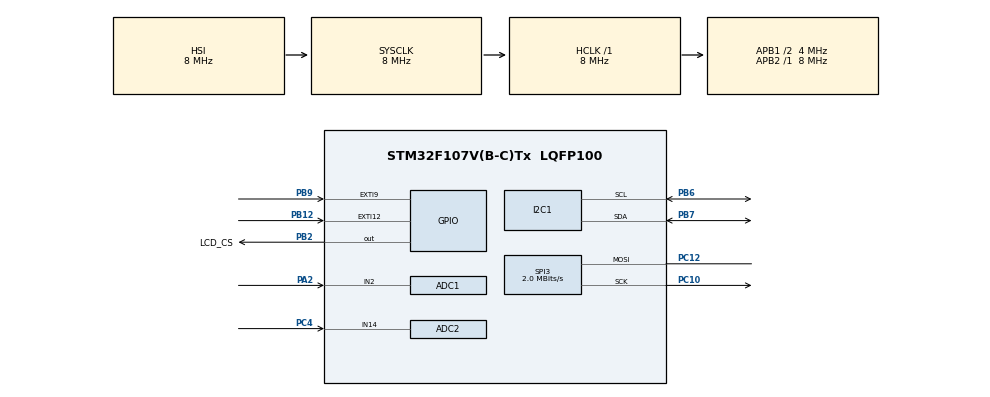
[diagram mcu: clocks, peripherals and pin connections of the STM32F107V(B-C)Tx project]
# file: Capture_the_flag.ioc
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ADC1.Channel-1\#ChannelRegularConversion=ADC_CHANNEL_2
ADC1.NbrOfConversionFlag=1
ADC1.Rank-1\#ChannelRegularConversion=1
ADC1.SamplingTime-1\#ChannelRegularConversion=ADC_SAMPLETIME_1CYCLE_5
ADC1.master=1
ADC2.Channel-1\#ChannelRegularConversion=ADC_CHANNEL_14
ADC2.NbrOfConversionFlag=1
ADC2.Rank-1\#ChannelRegularConversion=1
ADC2.SamplingTime-1\#ChannelRegularConversion=ADC_SAMPLETIME_1CYCLE_5
Mcu.Family=STM32F1
Mcu.Name=STM32F107V(B-C)Tx
Mcu.Package=LQFP100
NVIC.EXTI15_10_IRQn=true\:0\:0\:false\:false\:true\:true\:true\:true
NVIC.EXTI9_5_IRQn=true\:0\:0\:false\:false\:true\:true\:true\:true
NVIC.PriorityGroup=NVIC_PRIORITYGROUP_4
NVIC.TIM6_IRQn=true\:0\:0\:true\:false\:true\:true\:true\:true
NVIC.TIM7_IRQn=true\:0\:0\:true\:false\:true\:true\:true\:true
OSC_IN.Mode=HSE-External-Oscillator
OSC_IN.Signal=RCC_OSC_IN
OSC_OUT.Mode=HSE-External-Oscillator
OSC_OUT.Signal=RCC_OSC_OUT
PA13.Mode=JTAG_4_pins
PA13.Signal=SYS_JTMS-SWDIO
PA14.Mode=JTAG_4_pins
PA14.Signal=SYS_JTCK-SWCLK
PA15.Mode=JTAG_4_pins
PA15.Signal=SYS_JTDI
PA2.Signal=ADCx_IN2
PB12.Signal=GPXTI12
PB2.GPIO_Label=LCD_CS
PB2.Signal=GPIO_Output
PB3.Mode=JTAG_4_pins
PB3.Signal=SYS_JTDO
PB6.Mode=I2C
PB6.Signal=I2C1_SCL
PB7.Mode=I2C
PB7.Signal=I2C1_SDA
PB9.Signal=GPXTI9
PC10.Mode=Simplex_Bidirectional_Master
PC10.Signal=SPI3_SCK
PC12.Mode=Simplex_Bidirectional_Master
PC12.Signal=SPI3_MOSI
PC4.Signal=ADCx_IN14
ProjectManager.HeapSize=0x200
ProjectManager.StackSize=0x400
ProjectManager.TargetToolchain=STM32CubeIDE
RCC.ADCPresc=RCC_ADCPCLK2_DIV6
RCC.AHBFreq_Value=8000000
RCC.APB1CLKDivider=RCC_HCLK_DIV2
RCC.APB1Freq_Value=4000000
RCC.APB1TimFreq_Value=8000000
RCC.APB2Freq_Value=8000000
RCC.APB2TimFreq_Value=8000000
RCC.HCLKFreq_Value=8000000
RCC.PLLMUL=RCC_PLL_MUL9
RCC.PLLSourceVirtual=RCC_PLLSOURCE_HSE
RCC.SYSCLKFreq_VALUE=8000000
RCC.USBFreq_Value=48000000
SH.ADCx_IN14.0=ADC2_IN14,IN14
SH.ADCx_IN2.0=ADC1_IN2,IN2
SPI3.BaudRatePrescaler=SPI_BAUDRATEPRESCALER_2
SPI3.CLKPhase=SPI_PHASE_1EDGE
SPI3.CLKPolarity=SPI_POLARITY_LOW
SPI3.CalculateBaudRate=2.0 MBits/s
SPI3.DataSize=SPI_DATASIZE_16BIT
SPI3.Direction=SPI_DIRECTION_1LINE
SPI3.Mode=SPI_MODE_MASTER
SPI3.VirtualType=VM_MASTER
TIM6.Period=10-1
TIM6.Prescaler=8000-1
TIM7.Period=100-1
TIM7.Prescaler=8000-1
VP_TIM6_VS_ClockSourceINT.Mode=Enable_Timer
VP_TIM7_VS_ClockSourceINT.Mode=Enable_Timer
board=custom

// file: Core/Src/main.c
/* USER CODE BEGIN Header */
/**
  ******************************************************************************
  * @file           : main.c
  * @brief          : Main program body
  ******************************************************************************
  * @attention
  *
  * Copyright (c) 2023 STMicroelectronics.
  * All rights reserved.
  *
  * This software is licensed under terms that can be found in the LICENSE file
  * in the root directory of this software component.
  * If no LICENSE file comes with this software, it is provided AS-IS.
  *
  ******************************************************************************
  */
/* USER CODE END Header */
#include "main.h"

ADC_HandleTypeDef hadc1;
ADC_HandleTypeDef hadc2;

I2C_HandleTypeDef hi2c1;

SPI_HandleTypeDef hspi3;

TIM_HandleTypeDef htim6;
TIM_HandleTypeDef htim7;

void SystemClock_Config(void);
static void MX_GPIO_Init(void);
static void MX_I2C1_Init(void);
static void MX_SPI3_Init(void);
static void MX_TIM7_Init(void);
static void MX_ADC1_Init(void);
static void MX_TIM6_Init(void);
static void MX_ADC2_Init(void);

/* USER CODE BEGIN 0 */
void MovePlayer (void);
void GetADCValue (void);
void GetADC2Value (void);
void DrawPlayer (int x, int y, uint16_t color);
void DrawFlag(int x, int y, uint16_t color1, uint16_t color2);
void Displayplayer1Score (void);
void StartScreenSetup (void);
void StartAnimation(void);
void EndScreen(void);
bool CheckIfFlagTouched(int x, int y);
bool CheckIfGameEnd (void);

#define HEIGHT 240
#define WIDTH 320
#define MAX_SCORE 4

int flag_x[8];
int flag_y[8];

int currentFlagX;
int currentFlagY;

extern int player1X;
extern int player1Y;
extern int player2X;
extern int player2Y;
extern int player1Direction;
extern int player2Direction;
extern int player1State;
extern int player2State;
extern int x_start;
extern int y_start;
extern int x_start2;
extern int y_start2;

extern  bool isFlagReady;
extern bool isGameStart;

bool checkFlag = true;
bool isScreenWrited = false;

int temp1 = 0;
int temp2 = 0;
int player1Speed;
int player2Speed = 10;
uint8_t player1Score = 0;
int player2Score = 0;
int flagCounter = 1;

float raw1;
float raw2;

/* USER CODE END 0 */

int main(void)
{

  /* MCU Configuration--------------------------------------------------------*/

  /* Reset of all peripherals, Initializes the Flash interface and the Systick. */
  HAL_Init();

  /* Configure the system clock */
  SystemClock_Config();

  /* Initialize all configured peripherals */
  MX_GPIO_Init();
  MX_I2C1_Init();
  MX_SPI3_Init();
  MX_TIM7_Init();
  MX_ADC1_Init();
  MX_TIM6_Init();
  MX_ADC2_Init();
  /* USER CODE BEGIN 2 */

  StartScreenSetup();

  flag_x[0] = 250;
  flag_y[0] = 200;

  flag_x[1] = 130;
  flag_y[1] = 120;

  flag_x[2] = 20;
  flag_y[2] = 35;

  flag_x[3] = 200;
  flag_y[3] = 55;

  flag_x[4] = 63;
  flag_y[4] = 193;

  HAL_TIM_Base_Start_IT(&htim7);
  HAL_TIM_Base_Start_IT(&htim6);
  HAL_TIM_Base_Start_IT(&htim4);

  /*for (int var = 0; var < 8; ++var) {
	DrawFlag(flag_x[var], flag_y[var], LCD_COLOR_RED, LCD_COLOR_WHITE);
}*/

  /* USER CODE END 2 */

  /* Infinite loop */
  while (1)
  {

    /* USER CODE BEGIN 3 */
	  if (!isGameStart){
		  StartAnimation();
	  }
	  else if (isGameStart){
		  MovePlayer();
	  }

	  if (CheckIfGameEnd()){
		  EndScreen();
	  }

	}

  /* USER CODE END 3 */
}

void SystemClock_Config(void)
{
  RCC_OscInitTypeDef RCC_OscInitStruct = {0};
  RCC_ClkInitTypeDef RCC_ClkInitStruct = {0};
  RCC_PeriphCLKInitTypeDef PeriphClkInit = {0};

  /** Initializes the RCC Oscillators according to the specified parameters
  * in the RCC_OscInitTypeDef structure.
  */
  RCC_OscInitStruct.OscillatorType = RCC_OSCILLATORTYPE_HSI;
  RCC_OscInitStruct.HSIState = RCC_HSI_ON;
  RCC_OscInitStruct.HSICalibrationValue = RCC_HSICALIBRATION_DEFAULT;
  RCC_OscInitStruct.PLL.PLLState = RCC_PLL_NONE;
  RCC_OscInitStruct.PLL2.PLL2State = RCC_PLL_NONE;
  if (HAL_RCC_OscConfig(&RCC_OscInitStruct) != HAL_OK)
  {
    Error_Handler();
  }

  /** Initializes the CPU, AHB and APB buses clocks
  */
  RCC_ClkInitStruct.ClockType = RCC_CLOCKTYPE_HCLK|RCC_CLOCKTYPE_SYSCLK
                              |RCC_CLOCKTYPE_PCLK1|RCC_CLOCKTYPE_PCLK2;
  RCC_ClkInitStruct.SYSCLKSource = RCC_SYSCLKSOURCE_HSI;
  RCC_ClkInitStruct.AHBCLKDivider = RCC_SYSCLK_DIV1;
  RCC_ClkInitStruct.APB1CLKDivider = RCC_HCLK_DIV2;
  RCC_ClkInitStruct.APB2CLKDivider = RCC_HCLK_DIV1;

  if (HAL_RCC_ClockConfig(&RCC_ClkInitStruct, FLASH_LATENCY_0) != HAL_OK)
  {
    Error_Handler();
  }
  PeriphClkInit.PeriphClockSelection = RCC_PERIPHCLK_ADC;
  PeriphClkInit.AdcClockSelection = RCC_ADCPCLK2_DIV6;
  if (HAL_RCCEx_PeriphCLKConfig(&PeriphClkInit) != HAL_OK)
  {
    Error_Handler();
  }

  /** Configure the Systick interrupt time
  */
  __HAL_RCC_PLLI2S_ENABLE();
}

static void MX_ADC1_Init(void)
{

  ADC_ChannelConfTypeDef sConfig = {0};

  /** Common config
  */
  hadc1.Instance = ADC1;
  hadc1.Init.ScanConvMode = ADC_SCAN_DISABLE;
  hadc1.Init.ContinuousConvMode = DISABLE;
  hadc1.Init.DiscontinuousConvMode = DISABLE;
  hadc1.Init.ExternalTrigConv = ADC_SOFTWARE_START;
  hadc1.Init.DataAlign = ADC_DATAALIGN_RIGHT;
  hadc1.Init.NbrOfConversion = 1;
  if (HAL_ADC_Init(&hadc1) != HAL_OK)
  {
    Error_Handler();
  }

  /** Configure Regular Channel
  */
  sConfig.Channel = ADC_CHANNEL_2;
  sConfig.Rank = ADC_REGULAR_RANK_1;
  sConfig.SamplingTime = ADC_SAMPLETIME_1CYCLE_5;
  if (HAL_ADC_ConfigChannel(&hadc1, &sConfig) != HAL_OK)
  {
    Error_Handler();
  }

}

static void MX_ADC2_Init(void)
{

  ADC_ChannelConfTypeDef sConfig = {0};

  /** Common config
  */
  hadc2.Instance = ADC2;
  hadc2.Init.ScanConvMode = ADC_SCAN_DISABLE;
  hadc2.Init.ContinuousConvMode = DISABLE;
  hadc2.Init.DiscontinuousConvMode = DISABLE;
  hadc2.Init.ExternalTrigConv = ADC_SOFTWARE_START;
  hadc2.Init.DataAlign = ADC_DATAALIGN_RIGHT;
  hadc2.Init.NbrOfConversion = 1;
  if (HAL_ADC_Init(&hadc2) != HAL_OK)
  {
    Error_Handler();
  }

  /** Configure Regular Channel
  */
  sConfig.Channel = ADC_CHANNEL_14;
  sConfig.Rank = ADC_REGULAR_RANK_1;
  sConfig.SamplingTime = ADC_SAMPLETIME_1CYCLE_5;
  if (HAL_ADC_ConfigChannel(&hadc2, &sConfig) != HAL_OK)
  {
    Error_Handler();
  }

}

static void MX_I2C1_Init(void)
{

  hi2c1.Instance = I2C1;
  hi2c1.Init.ClockSpeed = 100000;
  hi2c1.Init.DutyCycle = I2C_DUTYCYCLE_2;
  hi2c1.Init.OwnAddress1 = 0;
  hi2c1.Init.AddressingMode = I2C_ADDRESSINGMODE_7BIT;
  hi2c1.Init.DualAddressMode = I2C_DUALADDRESS_DISABLE;
  hi2c1.Init.OwnAddress2 = 0;
  hi2c1.Init.GeneralCallMode = I2C_GENERALCALL_DISABLE;
  hi2c1.Init.NoStretchMode = I2C_NOSTRETCH_DISABLE;
  if (HAL_I2C_Init(&hi2c1) != HAL_OK)
  {
    Error_Handler();
  }

}

static void MX_SPI3_Init(void)
{

  /* SPI3 parameter configuration*/
  hspi3.Instance = SPI3;
  hspi3.Init.Mode = SPI_MODE_MASTER;
  hspi3.Init.Direction = SPI_DIRECTION_1LINE;
  hspi3.Init.DataSize = SPI_DATASIZE_16BIT;
  hspi3.Init.CLKPolarity = SPI_POLARITY_LOW;
  hspi3.Init.CLKPhase = SPI_PHASE_1EDGE;
  hspi3.Init.NSS = SPI_NSS_SOFT;
  hspi3.Init.BaudRatePrescaler = SPI_BAUDRATEPRESCALER_2;
  hspi3.Init.FirstBit = SPI_FIRSTBIT_MSB;
  hspi3.Init.TIMode = SPI_TIMODE_DISABLE;
  hspi3.Init.CRCCalculation = SPI_CRCCALCULATION_DISABLE;
  hspi3.Init.CRCPolynomial = 10;
  if (HAL_SPI_Init(&hspi3) != HAL_OK)
  {
    Error_Handler();
  }

}

static void MX_TIM6_Init(void)
{

  TIM_MasterConfigTypeDef sMasterConfig = {0};

  htim6.Instance = TIM6;
  htim6.Init.Prescaler = 8000-1;
  htim6.Init.CounterMode = TIM_COUNTERMODE_UP;
  htim6.Init.Period = 10-1;
  htim6.Init.AutoReloadPreload = TIM_AUTORELOAD_PRELOAD_DISABLE;
  if (HAL_TIM_Base_Init(&htim6) != HAL_OK)
  {
    Error_Handler();
  }
  sMasterConfig.MasterOutputTrigger = TIM_TRGO_RESET;
  sMasterConfig.MasterSlaveMode = TIM_MASTERSLAVEMODE_DISABLE;
  if (HAL_TIMEx_MasterConfigSynchronization(&htim6, &sMasterConfig) != HAL_OK)
  {
    Error_Handler();
  }

}

static void MX_TIM7_Init(void)
{

  TIM_MasterConfigTypeDef sMasterConfig = {0};

  htim7.Instance = TIM7;
  htim7.Init.Prescaler = 8000-1;
  htim7.Init.CounterMode = TIM_COUNTERMODE_UP;
  htim7.Init.Period = 100-1;
  htim7.Init.AutoReloadPreload = TIM_AUTORELOAD_PRELOAD_DISABLE;
  if (HAL_TIM_Base_Init(&htim7) != HAL_OK)
  {
    Error_Handler();
  }
  sMasterConfig.MasterOutputTrigger = TIM_TRGO_RESET;
  sMasterConfig.MasterSlaveMode = TIM_MASTERSLAVEMODE_DISABLE;
  if (HAL_TIMEx_MasterConfigSynchronization(&htim7, &sMasterConfig) != HAL_OK)
  {
    Error_Handler();
  }

}

static void MX_GPIO_Init(void)
{
  GPIO_InitTypeDef GPIO_InitStruct = {0};

  /* GPIO Ports Clock Enable */
  __HAL_RCC_GPIOA_CLK_ENABLE();
  __HAL_RCC_GPIOC_CLK_ENABLE();
  __HAL_RCC_GPIOB_CLK_ENABLE();

  /*Configure GPIO pin Output Level */
  HAL_GPIO_WritePin(LCD_CS_GPIO_Port, LCD_CS_Pin, GPIO_PIN_RESET);

  /*Configure GPIO pin : LCD_CS_Pin */
  GPIO_InitStruct.Pin = LCD_CS_Pin;
  GPIO_InitStruct.Mode = GPIO_MODE_OUTPUT_PP;
  GPIO_InitStruct.Pull = GPIO_NOPULL;
  GPIO_InitStruct.Speed = GPIO_SPEED_FREQ_LOW;
  HAL_GPIO_Init(LCD_CS_GPIO_Port, &GPIO_InitStruct);

  /*Configure GPIO pins : PB12 PB9 */
  GPIO_InitStruct.Pin = GPIO_PIN_12|GPIO_PIN_9;
  GPIO_InitStruct.Mode = GPIO_MODE_IT_RISING;
  GPIO_InitStruct.Pull = GPIO_NOPULL;
  HAL_GPIO_Init(GPIOB, &GPIO_InitStruct);

  /* EXTI interrupt init*/
  HAL_NVIC_SetPriority(EXTI9_5_IRQn, 0, 0);
  HAL_NVIC_EnableIRQ(EXTI9_5_IRQn);

  HAL_NVIC_SetPriority(EXTI15_10_IRQn, 0, 0);
  HAL_NVIC_EnableIRQ(EXTI15_10_IRQn);

}

/* USER CODE BEGIN 4 */

void MovePlayer (void){

	GetADC2Value();
	GetADCValue();
	DrawPlayer(player1X, player1Y, LCD_COLOR_ORANGE);
	DrawPlayer(player2X, player2Y, LCD_COLOR_BLUE);

	if (checkFlag){
		switch (flagCounter){
		case 1:
			DrawFlag(flag_x[0], flag_y[0], LCD_COLOR_WHITE, LCD_COLOR_RED);
			currentFlagX = flag_x[0];
			currentFlagY = flag_y[0];
			break;
		case 2:
			DrawFlag(flag_x[1], flag_y[1], LCD_COLOR_WHITE, LCD_COLOR_RED);
			currentFlagX = flag_x[1];
			currentFlagY = flag_y[1];
			break;
		case 3:
			DrawFlag(flag_x[2], flag_y[2], LCD_COLOR_WHITE, LCD_COLOR_RED);
			currentFlagX = flag_x[2];
			currentFlagY = flag_y[2];
			break;
		case 4:
			DrawFlag(flag_x[3], flag_y[3], LCD_COLOR_WHITE, LCD_COLOR_RED);
			currentFlagX = flag_x[3];
			currentFlagY = flag_y[3];
			break;

		}
	}

	if (CheckIfFlagTouched(currentFlagX, currentFlagY) == true){
			Displayplayer1Score();
	}
}

void DrawPlayer(int x, int y, uint16_t color){
	//Draw Square

	BSP_LCD_SetTextColor(LCD_COLOR_BLACK);
	BSP_LCD_FillRect(x-7   , y-4, 21, 17);
	BSP_LCD_SetTextColor(color);
	BSP_LCD_DrawRect(x, y, 5, 3);
	BSP_LCD_DrawRect(x-5, y+3, 15, 5);
	BSP_LCD_DrawRect(x-3, y+8, 3, 2);
	BSP_LCD_DrawRect(x+5, y+8, 3, 2);

}

void DrawFlag(int x, int y, uint16_t color1, uint16_t color2){
	BSP_LCD_SetTextColor(color1);
	BSP_LCD_DrawLine(x, y, x+3, y);
	BSP_LCD_DrawLine(x, y-1, x+3, y-1);
	BSP_LCD_DrawLine(x+1, y-2, x+1, y-9);
	BSP_LCD_DrawLine(x+2, y-2, x+2, y-9);

	BSP_LCD_SetTextColor(color2);
	BSP_LCD_DrawLine(x+3, y-4, x+3, y-10);
	BSP_LCD_DrawLine(x+4, y-4, x+4, y-10);
	BSP_LCD_DrawLine(x+5, y-5, x+5, y-9);
	BSP_LCD_DrawLine(x+6, y-6, x+6, y-8);
	DrawPixel(x+7, y-7, color2);

	checkFlag = false;
}

void GetADCValue (void){
	HAL_ADC_Start(&hadc1);
	HAL_ADC_PollForConversion(&hadc1, HAL_MAX_DELAY);
	raw1 = HAL_ADC_GetValue(&hadc1);

	if (raw1 > 0 && raw1 <= 500){
		player1Speed = 5;
		player1Direction = 0;
	}
	else if (raw1 > 500 && raw1 <= 1000){
		player1Speed = 7;
		player1Direction = 0;
	}
	else if (raw1 > 1000 && raw1 <= 1500){
		player1Speed = 9;
		player1Direction = 0;
	}
	else if (raw1 > 1500 && raw1 <= 2000){
		player1Speed = 10;
		player1Direction = 0;
	}
	else if (raw1 <= 3000 && raw1 > 2500){
		player1Speed = 9;
		player1Direction = 1;
	}
	else if (raw1 <= 3500 && raw1 > 3000){
			player1Speed = 7;
			player1Direction = 1;
	}
	else if (raw1 <= 4038 && raw1 > 3500){
				player1Speed = 5;
				player1Direction = 1;
	}
	else{
		player1Direction = 2;
	}
}

void GetADC2Value (void){
	HAL_ADC_Start(&hadc2);
	HAL_ADC_PollForConversion(&hadc2, HAL_MAX_DELAY);
	raw2 = HAL_ADC_GetValue(&hadc2);

	if (raw2 - temp2 <= 100 && temp2-raw2 <= 100)
		return;
	temp2 = raw2;

	if (raw2 > 0 && raw2 <= 2000){
		player2Speed = 10;
		player2Direction = 0;
	}
	else if (raw2 <= 4038 && raw2 > 2500){
		player2Speed = 10;
		player2Direction = 1;
	}
	else{
		player2Direction = 2;
	}
}

bool CheckIfFlagTouched(int x, int y){
	if (player1X >= x && player1X <= x + 6 && player1Y <= y && player1Y >= y - 10){
		DrawFlag(x, y, LCD_COLOR_BLACK, LCD_COLOR_BLACK);
		player1Score++;
		checkFlag = true;
		flagCounter++;
		return true;

	}
	if (player1X + 10 >= x && player1X + 10 <= x + 6 && player1Y +3 <= y && player1Y + 3 >= y - 10){
		DrawFlag(x, y, LCD_COLOR_BLACK, LCD_COLOR_BLACK);
		player1Score++;
		checkFlag = true;
		flagCounter++;
		return true;

	}
	if (player2X >= x && player2X <= x + 6 && player2Y <= y && player2Y >= y - 10){
		DrawFlag(x, y, LCD_COLOR_BLACK, LCD_COLOR_BLACK);
		player2Score++;
		checkFlag = true;
		flagCounter++;
		return true;
	}
	if (player2X + 10 >= x && player2X + 10 <= x + 6 && player2Y + 3 <= y && player2Y + 3 >= y - 10){
			DrawFlag(x, y, LCD_COLOR_BLACK, LCD_COLOR_BLACK);
			player2Score++;
			checkFlag = true;
			flagCounter++;
			return true;
		}
	return false;
}

void Displayplayer1Score (void){
	BSP_LCD_SetFont(&Font12);
	BSP_LCD_SetBackColor(LCD_COLOR_BLACK);
	BSP_LCD_SetTextColor(LCD_COLOR_WHITE);

	switch(player1Score){
	case 1:
		BSP_LCD_DisplayStringAt(0, 230, (uint8_t*) "Player1: 1", LEFT_MODE);
		break;
	case 2:
		BSP_LCD_DisplayStringAt(0, 230, (uint8_t*) "Player1: 2", LEFT_MODE);
		break;
	case 3:
		BSP_LCD_DisplayStringAt(0, 230, (uint8_t*) "Player1: 3", LEFT_MODE);
		break;
	case 4:
		BSP_LCD_DisplayStringAt(0, 230, (uint8_t*) "Player1: 4", LEFT_MODE);
		break;

	}

	switch(player2Score){
	case 1:
		BSP_LCD_DisplayStringAt(0, 230, (uint8_t*) "Player2: 1", RIGHT_MODE);
		break;
	case 2:
		BSP_LCD_DisplayStringAt(0, 230, (uint8_t*) "Player2: 2", RIGHT_MODE);
		break;
	case 3:
		BSP_LCD_DisplayStringAt(0, 230, (uint8_t*) "Player2: 3", RIGHT_MODE);
		break;
	case 4:
		BSP_LCD_DisplayStringAt(0, 230, (uint8_t*) "Player2: 4", RIGHT_MODE);
		break;

	}

}

void StartScreenSetup(){
	BSP_LCD_Init();
	BSP_LCD_Clear(LCD_COLOR_BLACK);
	BSP_LCD_SetBackColor(LCD_COLOR_BLACK);
	BSP_LCD_SetTextColor(LCD_COLOR_ORANGE);
	BSP_LCD_SetFont(&Font12);
	BSP_LCD_DisplayStringAt(0, 50, (uint8_t *) "BASLAMAK ICIN 'KEY' TUSUNA BASINIZ.", CENTER_MODE);
}

void StartAnimation(void){
	//CAR1
	BSP_LCD_SetTextColor(LCD_COLOR_RED);
	BSP_LCD_DrawRect(x_start, y_start, 14, 8);
	BSP_LCD_DrawRect(x_start-15, y_start+8, 45, 13);
	BSP_LCD_DrawCircle(x_start-2, y_start+21, 5);
	BSP_LCD_DrawCircle(x_start+17, y_start+21, 5);
	BSP_LCD_DrawRect(0, 142, 320, 5);
	BSP_LCD_FillRect(x_start+1, y_start+1, 13, 6);

	BSP_LCD_SetTextColor(LCD_COLOR_BLACK);
	BSP_LCD_FillRect(x_start+1, y_start+1, 13, 6);
	BSP_LCD_FillRect(x_start-14, y_start+9, 43, 11);
	BSP_LCD_FillCircle(x_start-2, y_start+21, 4);
	BSP_LCD_FillCircle(x_start+17, y_start+21, 4);
	BSP_LCD_DrawLine(x_start-15, y_start+8, x_start-15, y_start+21);
	BSP_LCD_DrawLine(x_start, y_start, x_start, y_start+8);
	x_start++;
}

bool CheckIfGameEnd (void){
	if (flagCounter == MAX_SCORE + 1){return true;}
	return false;
}

void EndScreen(void){
	if (!isScreenWrited){
		BSP_LCD_Clear(LCD_COLOR_BLACK);
		BSP_LCD_SetTextColor(LCD_COLOR_ORANGE);
		BSP_LCD_SetFont(&Font12);

		if (player1Score > player2Score){
			BSP_LCD_DisplayStringAt(100, 200, (uint8_t *) "OYUNCU 1  KAZANDI...", LEFT_MODE);
		}
		else if (player2Score > player1Score){
			BSP_LCD_DisplayStringAt(100, 200, (uint8_t *) "OYUNCU 2  KAZANDI...", LEFT_MODE);
		}
		else{
			BSP_LCD_DisplayStringAt(100, 200, (uint8_t *) "BERABERE...", LEFT_MODE);
		}
		isScreenWrited = true;
	}
}

/* USER CODE END 4 */

void Error_Handler(void)
{
  __disable_irq();
  while (1)
  {
  }
}
